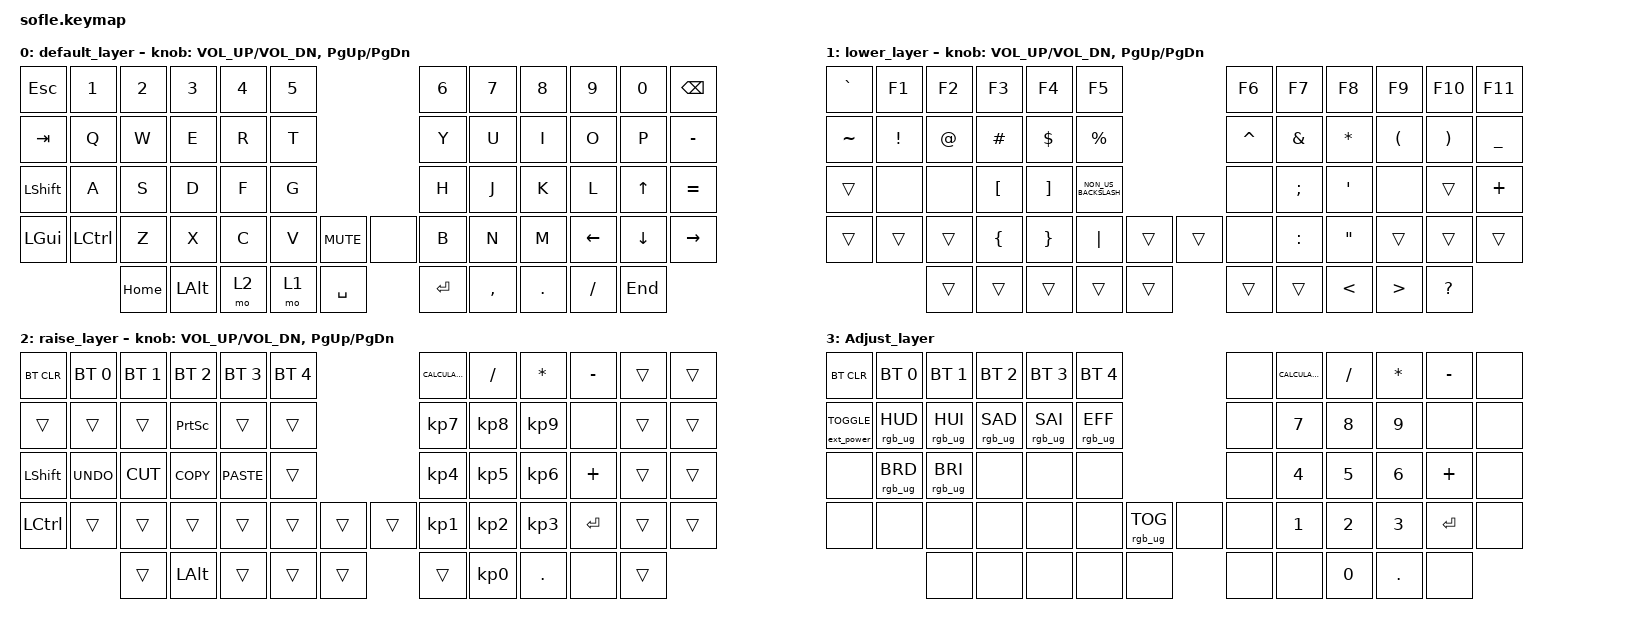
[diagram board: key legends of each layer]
/*
 * Copyright (c) 2020 The ZMK Contributors
 *
 * SPDX-License-Identifier: MIT
 */

#include <behaviors.dtsi>
#include <dt-bindings/zmk/bt.h>
#include <dt-bindings/zmk/ext_power.h>
#include <dt-bindings/zmk/keys.h>
#include <dt-bindings/zmk/rgb.h>

#define BASE 0
#define LOWER 1
#define RAISE 2
#define ADJUST 3

/ {
    // Activate ADJUST layer by pressing raise and lower

    conditional_layers {
        compatible = "zmk,conditional-layers";

        adjust_layer {
            if-layers = <LOWER RAISE>;
            then-layer = <ADJUST>;
        };
    };

    keymap {
        compatible = "zmk,keymap";

        default_layer {
            // ------------------------------------------------------------------------------------------------------------
            // |  `    |  1  |  2  |  3   |  4   |  5   |                   |  6   |  7    |  8    |  9   |   0   |       |
            // |  ESC  |  Q  |  W  |  E   |  R   |  T   |                   |  Y   |  U    |  I    |  O   |   P   | BKSPC |
            // |  TAB  |  A  |  S  |  D   |  F   |  G   |                   |  H   |  J    |  K    |  L   |   ;   |   '   |
            // | SHIFT |  Z  |  X  |  C   |  V   |  B   |  MUTE  |  |       |  N   |  M    |  ,    |  .   |   /   | SHIFT |
            //               | GUI | ALT  | CTRL | LOWER|  ENTER |  | SPACE | RAISE| CTRL  | ALT   | GUI  |

            bindings = <
       &kp ESC            &kp N1    &kp N2        &kp N3  &kp N4  &kp N5                            &kp N6      &kp N7     &kp N8          &kp N9          &kp N0    &kp BACKSPACE
       &kp TAB             &kp Q     &kp W         &kp E   &kp R   &kp T                             &kp Y       &kp U      &kp I           &kp O           &kp P        &kp MINUS
&kp LEFT_SHIFT             &kp A     &kp S         &kp D   &kp F   &kp G                             &kp H       &kp J      &kp K           &kp L    &kp UP_ARROW        &kp EQUAL
  &kp LEFT_GUI  &kp LEFT_CONTROL     &kp Z         &kp X   &kp C   &kp V  &kp C_MUTE      &none      &kp B       &kp N      &kp M  &kp LEFT_ARROW  &kp DOWN_ARROW  &kp RIGHT_ARROW
                                  &kp HOME  &kp LEFT_ALT   &mo 2   &mo 1   &kp SPACE  &kp ENTER  &kp COMMA  &kp PERIOD  &kp SLASH         &kp END
            >;

            sensor-bindings = <&inc_dec_kp C_VOL_UP C_VOL_DN &inc_dec_kp PAGE_UP PG_DN>;
        };

        lower_layer {
            // TODO: Some binds are waiting for shifted keycode support.
            // ------------------------------------------------------------------------------------------------------------
            // |       |  F1 |  F2 |  F3  |  F4  |  F5  |                   |  F6  |  F7   |  F8   |  F9  |  F10  |  F11  |
            // | `     |   1 |   2 |   3  |   4  |   5  |                   |   6  |   7   |   8   |   9  |    0  |  F12  |
            // |       |  !  |  @  |  #   |  $   |  %   |                   |  ^   |  &    |  *    |  (   |   )   |   |   |
            // |       |  =  |  -  |  +   |  {   |  }   |        |  |       |  [   |  ]    |  ;    |  :   |   \   |       |
            //               |     |      |      |      |        |  |       |      |       |       |      |

            bindings = <
&kp GRAVE           &kp F1       &kp F2            &kp F3             &kp F4                &kp F5                     &kp F6         &kp F7             &kp F8                &kp F9                &kp F10         &kp F11
&kp TILDE  &kp EXCLAMATION  &kp AT_SIGN          &kp HASH         &kp DOLLAR           &kp PERCENT                  &kp CARET  &kp AMPERSAND       &kp ASTERISK  &kp LEFT_PARENTHESIS  &kp RIGHT_PARENTHESIS  &kp UNDERSCORE
   &trans            &none        &none  &kp LEFT_BRACKET  &kp RIGHT_BRACKET  &kp NON_US_BACKSLASH                      &none  &kp SEMICOLON            &kp SQT                 &none                 &trans        &kp PLUS
   &trans           &trans       &trans    &kp LEFT_BRACE    &kp RIGHT_BRACE              &kp PIPE  &trans  &trans      &none      &kp COLON  &kp DOUBLE_QUOTES                &trans                 &trans          &trans
                                 &trans            &trans             &trans                &trans  &trans  &trans     &trans  &kp LESS_THAN   &kp GREATER_THAN          &kp QUESTION
            >;

            sensor-bindings = <&inc_dec_kp C_VOL_UP C_VOL_DN &inc_dec_kp PG_UP PG_DN>;
        };

        raise_layer {
            // ------------------------------------------------------------------------------------------------------------
            // |BTCLR| BT1  | BT2  |  BT3  |  BT4  |  BT5 |                |      |      |       |      |       |       |
            // |     | INS  | PSCR | GUI   |       |      |                | PGUP |      |   ^   |      |       |       |
            // |     | ALT  | CTRL | SHIFT |       | CAPS |                | PGDN |   <- |   v   |  ->  |  DEL  | BKSPC |
            // |     | UNDO | CUT  | COPY  | PASTE |      |      |  |      |      |      |       |      |       |       |
            //              |      |       |       |      |      |  |      |      |      |       |      |

            bindings = <
      &bt BT_CLR  &bt BT_SEL 0  &bt BT_SEL 1  &bt BT_SEL 2  &bt BT_SEL 3  &bt BT_SEL 4                  &kp K_CALCULATOR        &kp SLASH     &kp ASTERISK  &kp MINUS  &trans  &trans
          &trans        &trans        &trans     &kp PSCRN        &trans        &trans                   &kp KP_NUMBER_7  &kp KP_NUMBER_8  &kp KP_NUMBER_9      &none  &trans  &trans
  &kp LEFT_SHIFT    &kp K_UNDO     &kp K_CUT    &kp K_COPY   &kp K_PASTE        &trans                   &kp KP_NUMBER_4  &kp KP_NUMBER_5  &kp KP_NUMBER_6   &kp PLUS  &trans  &trans
&kp LEFT_CONTROL        &trans        &trans        &trans        &trans        &trans  &trans  &trans   &kp KP_NUMBER_1  &kp KP_NUMBER_2  &kp KP_NUMBER_3  &kp ENTER  &trans  &trans
                                      &trans  &kp LEFT_ALT        &trans        &trans  &trans  &trans   &kp KP_NUMBER_0       &kp PERIOD            &none     &trans
            >;

            sensor-bindings = <&inc_dec_kp C_VOL_UP C_VOL_DN &inc_dec_kp PG_UP PG_DN>;
        };

        // ------------------------------------------------------------------------------------------------------------
        // |BTCLR | BT1   | BT2   |  BT3  |  BT4  |  BT5  |                |      |      |       |      |       |       |
        // |EXTPWR|RGB_HUD|RGB_HUI|RGB_SAD|RGB_SAI|RGB_EFF|                |      |      |       |      |       |       |
        // |      |RGB_BRD|RGB_BRI|       |       |       |                |      |      |       |      |       |       |
        // |      |       |       |       |       |       |RGB_TOG| |      |      |      |       |      |       |       |
        //                |       |       |       |       |       | |      |      |      |       |      |

        Adjust_layer {
            bindings = <
                     &bt BT_CLR     &bt BT_SEL 0     &bt BT_SEL 1     &bt BT_SEL 2     &bt BT_SEL 3     &bt BT_SEL 4                          &none  &kp K_CALCULATOR      &kp FSLH  &kp ASTERISK  &kp MINUS  &none
&ext_power EXT_POWER_TOGGLE_CMD  &rgb_ug RGB_HUD  &rgb_ug RGB_HUI  &rgb_ug RGB_SAD  &rgb_ug RGB_SAI  &rgb_ug RGB_EFF                          &none      &kp NUMBER_7  &kp NUMBER_8  &kp NUMBER_9      &none  &none
                          &none  &rgb_ug RGB_BRD  &rgb_ug RGB_BRI            &none            &none            &none                          &none      &kp NUMBER_4  &kp NUMBER_5  &kp NUMBER_6   &kp PLUS  &none
                          &none            &none            &none            &none            &none            &none  &rgb_ug RGB_TOG  &none  &none      &kp NUMBER_1  &kp NUMBER_2  &kp NUMBER_3  &kp ENTER  &none
                                                            &none            &none            &none            &none            &none  &none  &none      &kp NUMBER_0    &kp PERIOD         &none
            >;
        };
    };
};
